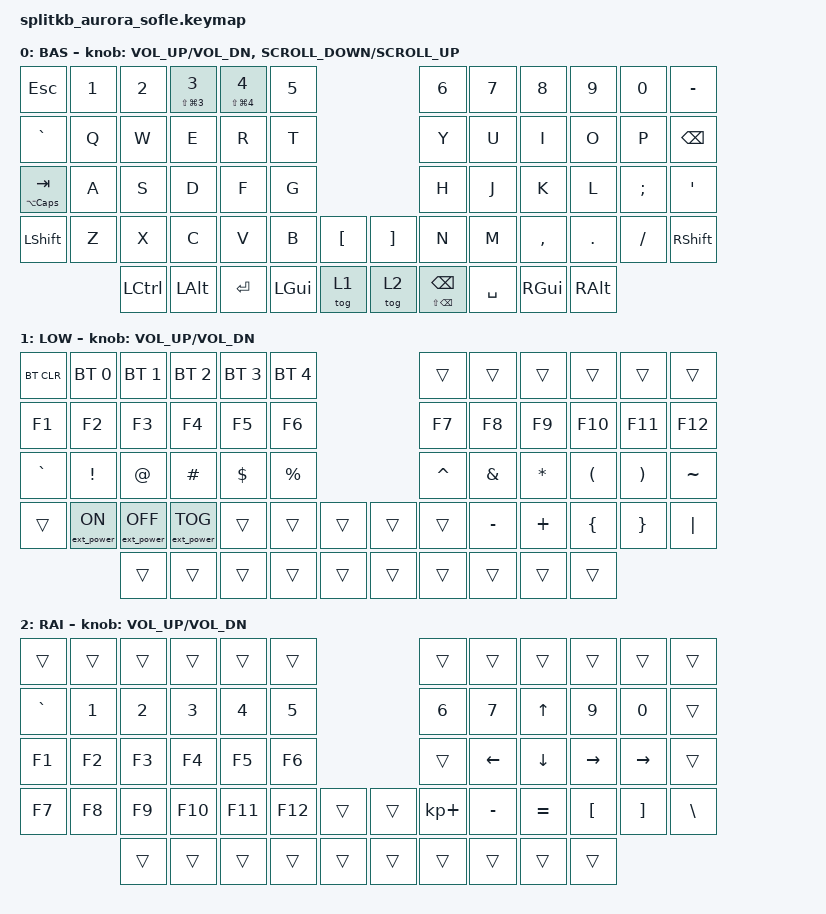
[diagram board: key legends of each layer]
/*
 * Copyright (c) 2023 The ZMK Contributors
 *
 * SPDX-License-Identifier: MIT
 */

#include <behaviors.dtsi>
#include <dt-bindings/zmk/bt.h>
#include <dt-bindings/zmk/ext_power.h>
#include <dt-bindings/zmk/keys.h>

/* Uncomment this block if using RGB
&led_strip {
    chain-length = <6>;
    // chain-length = <35>; // Uncomment if using both per-key and underglow LEDs
    // chain-length = <29>; // Uncomment if using only per-key LEDs.
};
 */

/ {
    keymap {
        compatible = "zmk,keymap";

        default_layer {
            display-name = "BAS";

            // ------------------------------------------------------------------------------------------------------------
            // |  ESC  |  1  |  2  |  3   |  4   |  5   |                   |  6   |  7    |  8    |  9   |   0   |   `   |
            // |  TAB  |  Q  |  W  |  E   |  R   |  T   |                   |  Y   |  U    |  I    |  O   |   P   |   -   |
            // |  CTRL |  A  |  S  |  D   |  F   |  G   |                   |  H   |  J    |  K    |  L   |   ;   |   '   |
            // | SHIFT |  Z  |  X  |  C   |  V   |  B   |   "["  |  |  "]"  |  N   |  M    |  ,    |  .   |   /   | SHIFT |
            //               |CTRL | ALT  | GUI  | LOWER|  SPACE |  | ENTER | RAISE| BSPC  | GUI   | RALT |

            bindings = <
&kp ESC           &kp N1  &kp N2     &mt LS(LG(N3)) N3  &mt LS(LG(N4)) N4  &kp N5                              &kp N6                       &kp N7     &kp N8     &kp N9    &kp N0    &kp MINUS
&kp GRAVE         &kp Q   &kp W      &kp E              &kp R              &kp T                               &kp Y                        &kp U      &kp I      &kp O     &kp P     &kp BACKSPACE
&mt LA(CAPS) TAB  &kp A   &kp S      &kp D              &kp F              &kp G                               &kp H                        &kp J      &kp K      &kp L     &kp SEMI  &kp SQT
&kp LSHFT         &kp Z   &kp X      &kp C              &kp V              &kp B         &kp LBKT    &kp RBKT  &kp N                        &kp M      &kp COMMA  &kp DOT   &kp FSLH  &kp RSHFT
                          &kp LCTRL  &kp LALT           &kp ENTER          &kp LEFT_GUI  &tog 1      &tog 2    &mt LS(BACKSPACE) BACKSPACE  &kp SPACE  &kp RGUI   &kp RALT
            >;

            sensor-bindings =
                <&inc_dec_kp C_VOL_UP C_VOL_DN>,
                <&inc_dec_kp K_SCROLL_DOWN K_SCROLL_UP>;
        };

        lower_layer {
            display-name = "LOW";

            // ------------------------------------------------------------------------------------------------------------
            // | BTCLR | BT1 | BT2 |  BT3 |  BT4 |  BT5 |                   |      |       |       |      |       |       |
            // |  F1   |  F2 |  F3 |  F4  |  F5  |  F6  |                   |  F7  |  F8   |  F9   |  F10 |  F11  |  F12  |
            // |   `   |  !  |  @  |  #   |  $   |  %   |                   |  ^   |  &    |  *    |  (   |   )   |   ~   |
            // |       |     |     |      |      |      |        |  |       |      |  _    |  +    |  {   |   }   |  "|"  |
            //               |     |      |      |      |        |  |       |      |       |       |      |

            bindings = <
&bt BT_CLR  &bt BT_SEL 0      &bt BT_SEL 1       &bt BT_SEL 2       &bt BT_SEL 3  &bt BT_SEL 4                    &trans     &trans     &trans    &trans    &trans    &trans
&kp F1      &kp F2            &kp F3             &kp F4             &kp F5        &kp F6                          &kp F7     &kp F8     &kp F9    &kp F10   &kp F11   &kp F12
&kp GRAVE   &kp EXCL          &kp AT             &kp HASH           &kp DOLLAR    &kp PRCNT                       &kp CARET  &kp AMPS   &kp STAR  &kp LPAR  &kp RPAR  &kp TILDE
&trans      &ext_power EP_ON  &ext_power EP_OFF  &ext_power EP_TOG  &trans        &trans        &trans    &trans  &trans     &kp MINUS  &kp PLUS  &kp LBRC  &kp RBRC  &kp PIPE
                              &trans             &trans             &trans        &trans        &trans    &trans  &trans     &trans     &trans    &trans
            >;

            sensor-bindings = <&inc_dec_kp C_VOL_UP C_VOL_DN>;
        };

        raise_layer {
            display-name = "RAI";

            // ------------------------------------------------------------------------------------------------------------
            // |       |     |     |      |      |      |                   |      |       |       |      |       |       |
            // |   `   |  1  |  2  |  3   |  4   |  5   |                   |  6   |   7   |   8   |  9   |   0   |       |
            // |   F1  |  F2 |  F3 |  F4  |  F5  |  F6  |                   |      |   <-  |   v   |  ^   |  ->   |       |
            // |   F7  |  F8 |  F9 |  F10 |  F11 |  F12 |        |  |       |  +   |   -   |   =   |  [   |   ]   |   \   |
            //               |     |      |      |      |        |  |       |      |       |       |      |

            bindings = <
&trans     &trans  &trans  &trans   &trans   &trans                     &trans       &trans     &trans        &trans     &trans     &trans
&kp GRAVE  &kp N1  &kp N2  &kp N3   &kp N4   &kp N5                     &kp N6       &kp N7     &kp UP_ARROW  &kp N9     &kp N0     &trans
&kp F1     &kp F2  &kp F3  &kp F4   &kp F5   &kp F6                     &trans       &kp LEFT   &kp DOWN      &kp RIGHT  &kp RIGHT  &trans
&kp F7     &kp F8  &kp F9  &kp F10  &kp F11  &kp F12  &trans    &trans  &kp KP_PLUS  &kp MINUS  &kp EQUAL     &kp LBKT   &kp RBKT   &kp BSLH
                   &trans  &trans   &trans   &trans   &trans    &trans  &trans       &trans     &trans        &trans
            >;

            sensor-bindings = <&inc_dec_kp C_VOL_UP C_VOL_DN>;
        };

        extra_1 { status = "reserved"; };

        extra_2 { status = "reserved"; };

        extra_3 { status = "reserved"; };
    };
};
